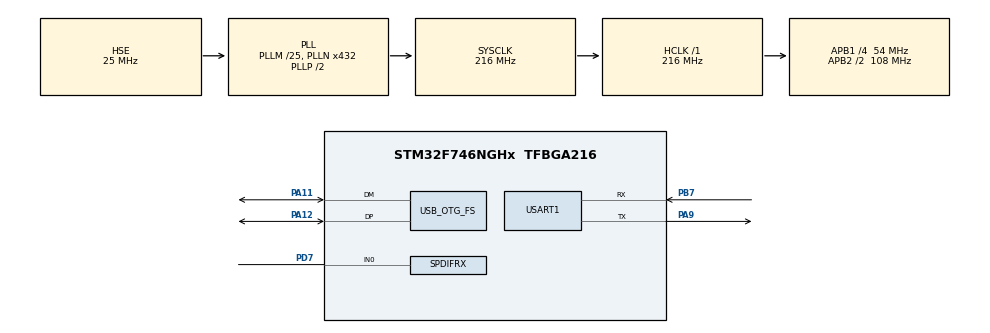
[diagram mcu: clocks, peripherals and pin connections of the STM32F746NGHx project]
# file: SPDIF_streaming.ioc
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CORTEX_M7.ART_ACCLERATOR_ENABLE=1
CORTEX_M7.CPU_DCache=Enabled
CORTEX_M7.CPU_ICache=Enabled
CORTEX_M7.PREFETCH_ENABLE=1
Mcu.Family=STM32F7
Mcu.Name=STM32F746NGHx
Mcu.Package=TFBGA216
NVIC.OTG_FS_IRQn=true\:0\:0\:false\:false\:true\:false
NVIC.PriorityGroup=NVIC_PRIORITYGROUP_4
NVIC.RCC_IRQn=true\:0\:0\:false\:false\:true\:true
NVIC.SPDIF_RX_IRQn=true\:0\:0\:false\:false\:true\:true
PA11.Mode=Device_Only
PA11.Signal=USB_OTG_FS_DM
PA12.Mode=Device_Only
PA12.Signal=USB_OTG_FS_DP
PA13.Mode=Serial_Wire
PA13.Signal=SYS_JTMS-SWDIO
PA14.Mode=Serial_Wire
PA14.Signal=SYS_JTCK-SWCLK
PA9.Mode=Asynchronous
PA9.Signal=USART1_TX
PB7.Mode=Asynchronous
PB7.Signal=USART1_RX
PD7.Mode=IN0
PD7.Signal=SPDIFRX_IN0
PH0/OSC_IN.Mode=HSE-External-Oscillator
PH0/OSC_IN.Signal=RCC_OSC_IN
PH1/OSC_OUT.Mode=HSE-External-Oscillator
PH1/OSC_OUT.Signal=RCC_OSC_OUT
ProjectManager.HeapSize=0x8000
ProjectManager.StackSize=0x4000
ProjectManager.TargetToolchain=SW4STM32
RCC.AHBFreq_Value=216000000
RCC.APB1CLKDivider=RCC_HCLK_DIV4
RCC.APB1Freq_Value=54000000
RCC.APB1TimFreq_Value=108000000
RCC.APB2CLKDivider=RCC_HCLK_DIV2
RCC.APB2Freq_Value=108000000
RCC.APB2TimFreq_Value=216000000
RCC.CortexFreq_Value=216000000
RCC.HCLKFreq_Value=216000000
RCC.HSE_VALUE=25000000
RCC.HSI_VALUE=16000000
RCC.LSE_VALUE=32768
RCC.PLLI2SN=100
RCC.PLLM=25
RCC.PLLN=432
RCC.PLLQ=9
RCC.SYSCLKFreq_VALUE=216000000
RCC.SYSCLKSource=RCC_SYSCLKSOURCE_PLLCLK
RCC.USBFreq_Value=48000000
RCC.VCOOutputFreq_Value=432000000
SPDIFRX.ChannelStatusMask=SPDIFRX_CHANNELSTATUS_ON
SPDIFRX.DataFormat=SPDIFRX_DATAFORMAT_32BITS
SPDIFRX.PreambleTypeMask=SPDIFRX_PREAMBLETYPEMASK_ON
SPDIFRX.StereoMode=SPDIFRX_STEREOMODE_ENABLE
SPDIFRX.ValidityBitMask=SPDIFRX_VALIDITYMASK_ON
SPDIFRX.WaitForActivity=SPDIFRX_WAITFORACTIVITY_ON
USART1.VirtualMode-Asynchronous=VM_ASYNC
USB_DEVICE.CLASS_NAME_FS=CDC
USB_DEVICE.VirtualMode-CDC_FS=Cdc
USB_DEVICE.VirtualModeFS=Cdc_FS
USB_OTG_FS.VirtualMode=Device_Only
VP_USB_DEVICE_VS_USB_DEVICE_CDC_FS.Mode=CDC_FS
board=custom

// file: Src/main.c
/* USER CODE BEGIN Header */
/**
  ******************************************************************************
  * @file           : main.c
  * @brief          : Main program body
  ******************************************************************************
  * This notice applies to any and all portions of this file
  * that are not between comment pairs USER CODE BEGIN and
  * USER CODE END. Other portions of this file, whether
  * inserted by the user or by software development tools
  * are owned by their respective copyright owners.
  *
  * Copyright (c) 2019 STMicroelectronics International N.V.
  * All rights reserved.
  *
  * Redistribution and use in source and binary forms, with or without
  * modification, are permitted, provided that the following conditions are met:
  *
  * 1. Redistribution of source code must retain the above copyright notice,
  *    this list of conditions and the following disclaimer.
  * 2. Redistributions in binary form must reproduce the above copyright notice,
  *    this list of conditions and the following disclaimer in the documentation
  *    and/or other materials provided with the distribution.
  * 3. Neither the name of STMicroelectronics nor the names of other
  *    contributors to this software may be used to endorse or promote products
  *    derived from this software without specific written permission.
  * 4. This software, including modifications and/or derivative works of this
  *    software, must execute solely and exclusively on microcontroller or
  *    microprocessor devices manufactured by or for STMicroelectronics.
  * 5. Redistribution and use of this software other than as permitted under
  *    this license is void and will automatically terminate your rights under
  *    this license.
  *
  * THIS SOFTWARE IS PROVIDED BY STMICROELECTRONICS AND CONTRIBUTORS "AS IS"
  * AND ANY EXPRESS, IMPLIED OR STATUTORY WARRANTIES, INCLUDING, BUT NOT
  * LIMITED TO, THE IMPLIED WARRANTIES OF MERCHANTABILITY, FITNESS FOR A
  * PARTICULAR PURPOSE AND NON-INFRINGEMENT OF THIRD PARTY INTELLECTUAL PROPERTY
  * RIGHTS ARE DISCLAIMED TO THE FULLEST EXTENT PERMITTED BY LAW. IN NO EVENT
  * SHALL STMICROELECTRONICS OR CONTRIBUTORS BE LIABLE FOR ANY DIRECT, INDIRECT,
  * INCIDENTAL, SPECIAL, EXEMPLARY, OR CONSEQUENTIAL DAMAGES (INCLUDING, BUT NOT
  * LIMITED TO, PROCUREMENT OF SUBSTITUTE GOODS OR SERVICES; LOSS OF USE, DATA,
  * OR PROFITS; OR BUSINESS INTERRUPTION) HOWEVER CAUSED AND ON ANY THEORY OF
  * LIABILITY, WHETHER IN CONTRACT, STRICT LIABILITY, OR TORT (INCLUDING
  * NEGLIGENCE OR OTHERWISE) ARISING IN ANY WAY OUT OF THE USE OF THIS SOFTWARE,
  * EVEN IF ADVISED OF THE POSSIBILITY OF SUCH DAMAGE.
  *
  ******************************************************************************
  */
/* USER CODE END Header */

#include "main.h"
#include "usb_device.h"

/* USER CODE BEGIN Includes */
#include "usbd_cdc_if.h"
#include "stm32f7xx_hal_spdifrx.h"
/* USER CODE END Includes */

/* USER CODE BEGIN PD */
#define SPDIF_SAMPLE_NUM 128
/* USER CODE END PD */

SPDIFRX_HandleTypeDef hspdif;

UART_HandleTypeDef huart1;

/* USER CODE BEGIN PV */
uint32_t SPDIF_irq_count;
//use malloc, pls. see _Min_Heap_Size  = 0x4000; in LinkerScript.ld
static uint32_t *SPDIFIN0_RxBuf0 = NULL;
static uint32_t *SPDIFIN0_RxBuf1 = NULL;
/* USER CODE END PV */

void SystemClock_Config(void);
static void MX_GPIO_Init(void);
static void MX_SPDIFRX_Init(void);
static void MX_USART1_UART_Init(void);

int main(void)
{

  /* Enable I-Cache---------------------------------------------------------*/
  SCB_EnableICache();

  /* Enable D-Cache---------------------------------------------------------*/
  SCB_EnableDCache();

  /* MCU Configuration--------------------------------------------------------*/

  /* Reset of all peripherals, Initializes the Flash interface and the Systick. */
  HAL_Init();

  /* Configure the system clock */
  SystemClock_Config();

  /* Initialize all configured peripherals */
  MX_GPIO_Init();
  MX_SPDIFRX_Init();
  MX_USB_DEVICE_Init();
  MX_USART1_UART_Init();
  /* USER CODE BEGIN 2 */
  // Allocate the receive buffer
  SPDIFIN0_RxBuf0 = (uint32_t *)malloc(SPDIF_SAMPLE_NUM * 4);
  SPDIFIN0_RxBuf1 = (uint32_t *)malloc(SPDIF_SAMPLE_NUM * 4);
  // Start the SPDIF dataflow
  while (HAL_SPDIFRX_ReceiveDataFlow_IT(&hspdif, SPDIFIN0_RxBuf0, SPDIF_SAMPLE_NUM) == HAL_BUSY) ;
  /* USER CODE END 2 */

  /* Infinite loop */
  while (1)
  {

    /* USER CODE BEGIN 3 */
    uint32_t start_tick = HAL_GetTick();
    while (hspdif.RxXferCount > 50) {
      uint32_t cur_tick = HAL_GetTick();
      // This should only add a small reset delay when the tick clock roles over.
      if (cur_tick < start_tick) {
	start_tick = 0;
      }
      // Reset after 1 second of no data.
      if ((cur_tick - start_tick) > 1000) {
	MX_SPDIFRX_Init();
	HAL_SPDIFRX_ReceiveDataFlow_IT(&hspdif, SPDIFIN0_RxBuf0, SPDIF_SAMPLE_NUM);
	start_tick = HAL_GetTick();
      }
    }
    uint8_t *ibuf = (uint8_t*)SPDIFIN0_RxBuf0;
    uint8_t *obuf = (uint8_t*)SPDIFIN0_RxBuf1;
    uint16_t nrec = hspdif.RxXferSize - hspdif.RxXferCount;
    // Byteswap the 32 bit words
    // Note: This should only be performed for DTS encoding
    size_t i;
    for (i = 0; i < nrec * 4; i += 4) {
      obuf[i] = ibuf[i + 3];
      obuf[i + 1] = ibuf[i + 2];
      obuf[i + 2] = ibuf[i + 1];
      obuf[i + 3] = ibuf[i];
    }
    __disable_irq();
    nrec = hspdif.RxXferSize - hspdif.RxXferCount;
    hspdif.RxXferCount = SPDIF_SAMPLE_NUM;
    hspdif.pRxBuffPtr  = SPDIFIN0_RxBuf0;
    __enable_irq();
    for ( ; i < nrec * 4; i += 4) {
      obuf[i] = ibuf[i + 3];
      obuf[i + 1] = ibuf[i + 2];
      obuf[i + 2] = ibuf[i + 1];
      obuf[i + 3] = ibuf[i];
    }
    CDC_Transmit_FS(obuf, nrec * 4);
    //char buf[30];
    //sprintf(buf, "Tx\n\r");
    //HAL_UART_Transmit(&huart1, (uint8_t*)buf, strlen(buf), 100);
  }
  /* USER CODE END 3 */
}

void SystemClock_Config(void)
{
  RCC_OscInitTypeDef RCC_OscInitStruct = {0};
  RCC_ClkInitTypeDef RCC_ClkInitStruct = {0};
  RCC_PeriphCLKInitTypeDef PeriphClkInitStruct = {0};

  /**Configure the main internal regulator output voltage
  */
  __HAL_RCC_PWR_CLK_ENABLE();
  __HAL_PWR_VOLTAGESCALING_CONFIG(PWR_REGULATOR_VOLTAGE_SCALE1);
  /**Initializes the CPU, AHB and APB busses clocks
  */
  RCC_OscInitStruct.OscillatorType = RCC_OSCILLATORTYPE_HSE;
  RCC_OscInitStruct.HSEState = RCC_HSE_ON;
  RCC_OscInitStruct.PLL.PLLState = RCC_PLL_ON;
  RCC_OscInitStruct.PLL.PLLSource = RCC_PLLSOURCE_HSE;
  RCC_OscInitStruct.PLL.PLLM = 25;
  RCC_OscInitStruct.PLL.PLLN = 432;
  RCC_OscInitStruct.PLL.PLLP = RCC_PLLP_DIV2;
  RCC_OscInitStruct.PLL.PLLQ = 9;
  if (HAL_RCC_OscConfig(&RCC_OscInitStruct) != HAL_OK)
  {
    Error_Handler();
  }
  /**Activate the Over-Drive mode
  */
  if (HAL_PWREx_EnableOverDrive() != HAL_OK)
  {
    Error_Handler();
  }
  /**Initializes the CPU, AHB and APB busses clocks
  */
  RCC_ClkInitStruct.ClockType = RCC_CLOCKTYPE_HCLK|RCC_CLOCKTYPE_SYSCLK
                              |RCC_CLOCKTYPE_PCLK1|RCC_CLOCKTYPE_PCLK2;
  RCC_ClkInitStruct.SYSCLKSource = RCC_SYSCLKSOURCE_PLLCLK;
  RCC_ClkInitStruct.AHBCLKDivider = RCC_SYSCLK_DIV1;
  RCC_ClkInitStruct.APB1CLKDivider = RCC_HCLK_DIV4;
  RCC_ClkInitStruct.APB2CLKDivider = RCC_HCLK_DIV2;

  if (HAL_RCC_ClockConfig(&RCC_ClkInitStruct, FLASH_LATENCY_7) != HAL_OK)
  {
    Error_Handler();
  }
  PeriphClkInitStruct.PeriphClockSelection = RCC_PERIPHCLK_SPDIFRX|RCC_PERIPHCLK_USART1
                              |RCC_PERIPHCLK_CLK48;
  PeriphClkInitStruct.PLLI2S.PLLI2SN = 100;
  PeriphClkInitStruct.PLLI2S.PLLI2SP = RCC_PLLP_DIV2;
  PeriphClkInitStruct.PLLI2S.PLLI2SR = 2;
  PeriphClkInitStruct.PLLI2S.PLLI2SQ = 2;
  PeriphClkInitStruct.PLLI2SDivQ = 1;
  PeriphClkInitStruct.Usart1ClockSelection = RCC_USART1CLKSOURCE_PCLK2;
  PeriphClkInitStruct.Clk48ClockSelection = RCC_CLK48SOURCE_PLL;
  if (HAL_RCCEx_PeriphCLKConfig(&PeriphClkInitStruct) != HAL_OK)
  {
    Error_Handler();
  }
}

static void MX_SPDIFRX_Init(void)
{

  hspdif.Instance = SPDIFRX;
  hspdif.Init.InputSelection = SPDIFRX_INPUT_IN0;
  hspdif.Init.Retries = SPDIFRX_MAXRETRIES_NONE;
  hspdif.Init.WaitForActivity = SPDIFRX_WAITFORACTIVITY_ON;
  hspdif.Init.ChannelSelection = SPDIFRX_CHANNEL_A;
  hspdif.Init.DataFormat = SPDIFRX_DATAFORMAT_32BITS;
  hspdif.Init.StereoMode = SPDIFRX_STEREOMODE_ENABLE;
  hspdif.Init.PreambleTypeMask = SPDIFRX_PREAMBLETYPEMASK_ON;
  hspdif.Init.ChannelStatusMask = SPDIFRX_CHANNELSTATUS_ON;
  hspdif.Init.ValidityBitMask = SPDIFRX_VALIDITYMASK_ON;
  hspdif.Init.ParityErrorMask = SPDIFRX_PARITYERRORMASK_ON;
  if (HAL_SPDIFRX_Init(&hspdif) != HAL_OK)
  {
    Error_Handler();
  }

}

static void MX_USART1_UART_Init(void)
{

  huart1.Instance = USART1;
  huart1.Init.BaudRate = 115200;
  huart1.Init.WordLength = UART_WORDLENGTH_8B;
  huart1.Init.StopBits = UART_STOPBITS_1;
  huart1.Init.Parity = UART_PARITY_NONE;
  huart1.Init.Mode = UART_MODE_TX_RX;
  huart1.Init.HwFlowCtl = UART_HWCONTROL_NONE;
  huart1.Init.OverSampling = UART_OVERSAMPLING_16;
  huart1.Init.OneBitSampling = UART_ONE_BIT_SAMPLE_DISABLE;
  huart1.AdvancedInit.AdvFeatureInit = UART_ADVFEATURE_NO_INIT;
  if (HAL_UART_Init(&huart1) != HAL_OK)
  {
    Error_Handler();
  }

}

static void MX_GPIO_Init(void)
{

  /* GPIO Ports Clock Enable */
  __HAL_RCC_GPIOD_CLK_ENABLE();
  __HAL_RCC_GPIOA_CLK_ENABLE();
  __HAL_RCC_GPIOB_CLK_ENABLE();
  __HAL_RCC_GPIOH_CLK_ENABLE();

}

void Error_Handler(void)
{
}

/************************ (C) COPYRIGHT STMicroelectronics *****END OF FILE****/
